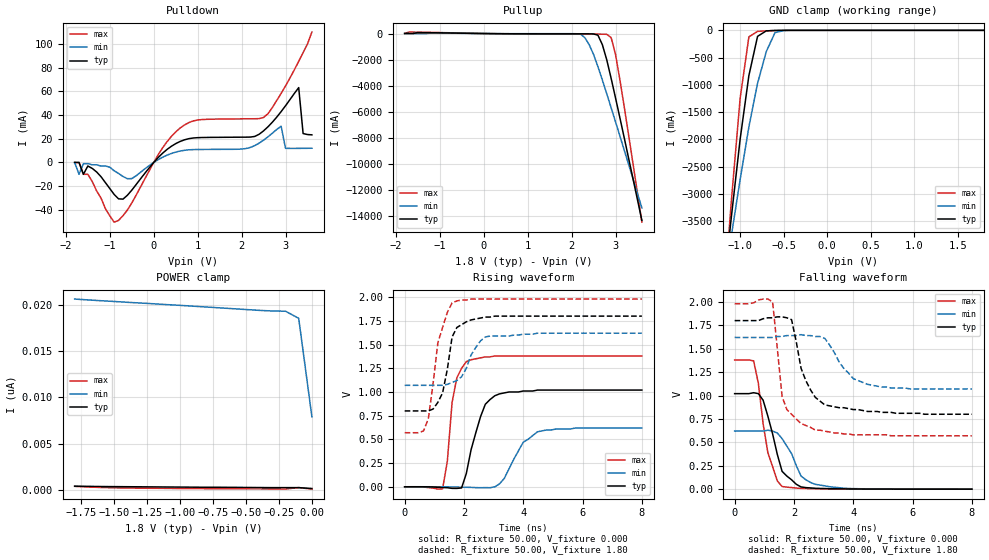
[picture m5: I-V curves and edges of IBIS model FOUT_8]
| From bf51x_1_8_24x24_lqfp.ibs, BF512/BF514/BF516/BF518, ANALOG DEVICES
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|   Model prw0408swcdg_3v_25
[Model]   FOUT_8
Model_type   I/O
Polarity   Non-Inverting
Enable   Active-Low
Vinl =   0.70V
Vinh =   1.00V
Vmeas =   1.20V
Cref =  50.00pF
Rref =   1.00M
Vref =  0.000V
C_comp   4.78pF   4.30pF   5.26pF
[Temperature Range]   25.00   0.12k   -40.00
[Voltage Range]   1.80V   1.62V   1.98V
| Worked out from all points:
|   slope of the pulldown table from 0 to 0.27 V, typ, clamps not added: 27.1 ohm
|   slope of the pullup table from 0 to 0.27 V, typ, clamps not added: 26.9 ohm
|   GND clamp passes 1 mA (typ) near -0.53 V on its own axis
|   rising waveform, R_fixture 50.00, V_fixture 0.000: 20-80 % time 533ps typ, 722ps min, 290ps max; typ from 0 V to 1.02 V
|   rising waveform, R_fixture 50.00, V_fixture 1.80: 20-80 % time 346ps typ, 536ps min, 441ps max; typ from 0.8 V to 1.8 V
|   falling waveform, R_fixture 50.00, V_fixture 0.000: 20-80 % time 501ps typ, 616ps min, 432ps max; typ from 1.02 V to 0 V
|   falling waveform, R_fixture 50.00, V_fixture 1.80: 20-80 % time 620ps typ, 740ps min, 381ps max; typ from 1.8 V to 0.8 V
[Pulldown]
| voltage   I(typ)   I(min)   I(max)
-1.8V     0A         0A         0A
-1.7V     0A         -10mA      0A
-1.6V     -10mA      -1mA       -10mA
-1.4V     -5mA       -2mA       -16mA
-800mV    -30.7mA    -9.3mA     -48.85mA
500mV     15.88mA    8.74mA     25.76mA
2.5V      26.66mA    18.81mA    37.95mA
2.9V      42.91mA    30.55mA    58.28mA
3V        47.85mA    11.93mA    64.57mA
3.3V      63.16mA    11.88mA    85.3mA
3.4V      24.4mA     11.91mA    92.63mA
3.6V      23.31mA    12mA       110mA
[Pullup]
| voltage   I(typ)   I(min)   I(max)
-1.8V     1.48mA     550uA      10.03mA
-1.6V     2.84mA     560uA      110mA
2.2V      -22.71mA   -39.81mA   -37.75mA
2.3V      -23.18mA   -310mA     -37.82mA
2.4V      -25.42mA   -850mA     -37.94mA
2.6V      -130mA     -2.54A     -42.67mA
2.7V      -850mA     -3.56A     -49.75mA
2.8V      -2.01A     -4.61A     -61.08mA
2.9V      -3.43A     -5.68A     -310mA
3V        -4.93A     -6.76A     -1.61A
3.1V      -6.46A     -7.85A     -3.55A
3.6V      -14.31A    -13.35A    -14.44A
[GND_clamp]
| voltage   I(typ)   I(min)   I(max)
-1.8V     -14.28A    -11.35A    -18.41A
-1.2V     -4.9A      -4.81A     -5.19A
-1.1V     -3.4A      -3.75A     -3.1A
-1V       -1.99A     -2.73A     -1.24A
-900mV    -830mA     -1.77A     -120mA
-800mV    -110mA     -970mA     -19.21mA
-700mV    -9.89mA    -390mA     -9.78mA
-600mV    -2.57mA    -42.87mA   -3.5mA
-500mV    -460uA     -4.38mA    -550uA
1.8V      170pA      19.28nA    82.46pA
[POWER_clamp]
| voltage   I(typ)   I(min)   I(max)
-1.8V     420pA      20.63nA    400pA
-1.5V     370pA      20.37nA    240pA
-1.3V     350pA      20.2nA     200pA
-400mV    270pA      19.41nA    130pA
-200mV    260pA      19.32nA    110pA
-100mV    260pA      18.55nA    270pA
0V        170pA      7.92nA     95.65pA
[Ramp]
| variable   typ   min   max
dV/dt_r   0.61/0.52n   0.37/0.71n   0.83/0.29n
dV/dt_f   0.60/0.65n   0.33/0.73n   0.84/0.37n
R_load = 50.00
[Rising Waveform]
R_fixture = 50.00
V_fixture = 0.000
V_fixture_min = 0.000
V_fixture_max = 0.000
L_fixture = 0.000H
C_fixture = 0.000F
| time   V(typ)   V(min)   V(max)
0s        0V         0V         0V
1.28ns    -7.74mV    -300uV     -22.11mV
1.44ns    -10.17mV   -820uV     270mV
1.6ns     -16.86mV   -2.11mV    890mV
1.76ns    -17.39mV   -3.36mV    1.15V
2.08ns    140mV      -5.83mV    1.32V
2.56ns    740mV      -9.78mV    1.36V
3.04ns    960mV      -1.06mV    1.38V
4.48ns    1.02V      580mV      1.38V
8ns       1.02V      620mV      1.38V
[Rising Waveform]
R_fixture = 50.00
V_fixture = 1.80
V_fixture_min = 1.62
V_fixture_max = 1.98
L_fixture = 0.000H
C_fixture = 0.000F
| time   V(typ)   V(min)   V(max)
0s        800mV      1.07V      570mV
640ps     800mV      1.07V      590mV
800ps     800mV      1.07V      720mV
1.12ns    890mV      1.07V      1.52V
1.28ns    990mV      1.07V      1.68V
1.6ns     1.58V      1.1V       1.94V
1.92ns    1.71V      1.16V      1.97V
2.24ns    1.76V      1.39V      1.98V
2.72ns    1.79V      1.58V      1.98V
8ns       1.8V       1.62V      1.98V
[Falling Waveform]
R_fixture = 50.00
V_fixture = 0.000
V_fixture_min = 0.000
V_fixture_max = 0.000
L_fixture = 0.000H
C_fixture = 0.000F
| time   V(typ)   V(min)   V(max)
0s        1.02V      620mV      1.38V
640ps     1.03V      620mV      1.37V
800ps     1.02V      620mV      1.13V
960ps     950mV      620mV      700mV
1.12ns    780mV      630mV      390mV
1.44ns    370mV      600mV      87.87mV
1.6ns     190mV      540mV      28.08mV
2.24ns    23.61mV    140mV      8.54mV
2.72ns    9.29mV     51.34mV    4.29mV
8ns       58.72uV    110uV      23.53uV
[Falling Waveform]
R_fixture = 50.00
V_fixture = 1.80
V_fixture_min = 1.62
V_fixture_max = 1.98
L_fixture = 0.000H
C_fixture = 0.000F
| time   V(typ)   V(min)   V(max)
0s        1.8V       1.62V      1.98V
1.28ns    1.83V      1.62V      2V
1.6ns     1.84V      1.63V      990mV
1.92ns    1.81V      1.64V      800mV
2.24ns    1.29V      1.65V      700mV
2.72ns    980mV      1.63V      630mV
3.04ns    900mV      1.61V      620mV
4ns       850mV      1.18V      580mV
4.48ns    830mV      1.12V      580mV
8ns       800mV      1.07V      570mV
